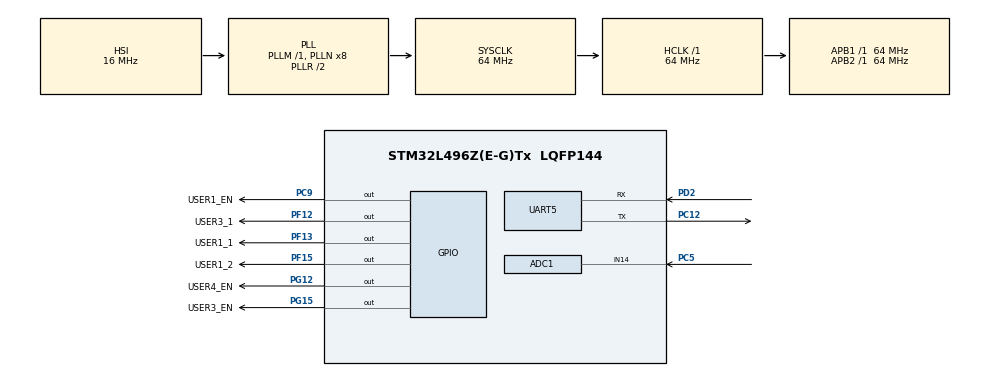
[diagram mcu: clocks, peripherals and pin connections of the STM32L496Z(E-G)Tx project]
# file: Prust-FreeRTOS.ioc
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Mcu.Family=STM32L4
RCC.CortexFreq_Value=64000000
PC12.Signal=UART5_TX
PG15.Signal=GPIO_Output
RCC.SYSCLKSource=RCC_SYSCLKSOURCE_PLLCLK
ProjectManager.StackSize=0x400
VP_FREERTOS_VS_CMSIS_V2.Mode=CMSIS_V2
PG15.GPIO_Label=USER3_EN
RCC.ADCCLockSelection=RCC_ADCCLKSOURCE_SYSCLK
RCC.HCLKFreq_Value=64000000
RCC.APB2TimFreq_Value=64000000
Dma.ADC1.0.Direction=DMA_PERIPH_TO_MEMORY
PF12.Signal=GPIO_Output
FREERTOS.configUSE_MALLOC_FAILED_HOOK=1
Dma.ADC1.0.MemDataAlignment=DMA_MDATAALIGN_HALFWORD
RCC.AHBFreq_Value=64000000
RCC.HSE_VALUE=8000000
PF12.GPIO_Label=USER3_1
VP_SYS_VS_tim1.Mode=TIM1
FREERTOS.HEAP_NUMBER=4
Dma.ADC1.0.PeriphInc=DMA_PINC_DISABLE
FREERTOS.configTIMER_TASK_PRIORITY=45
FREERTOS.configTOTAL_HEAP_SIZE=30000
Mcu.Package=LQFP144
FREERTOS.configUSE_NEWLIB_REENTRANT=1
NVIC.TimeBase=TIM1_UP_TIM16_IRQn
SH.ADCx_IN14.0=ADC1_IN14,IN14-Single-Ended
NVIC.TimeBaseIP=TIM1
ADC1.OffsetNumber-1\#ChannelRegularConversion=ADC_OFFSET_NONE
RCC.UART5CLockSelection=RCC_UART5CLKSOURCE_SYSCLK
RCC.APB1TimFreq_Value=64000000
PC5.Signal=ADCx_IN14
Dma.Request0=ADC1
RCC.MSIClockRange=RCC_MSIRANGE_11
RCC.PLLSAI1R=RCC_PLLR_DIV4
RCC.HSI48_VALUE=48000000
RCC.PLLSAI1N=16
PG12.Signal=GPIO_Output
RCC.MSI_VALUE=48000000
RCC.PLLSourceVirtual=RCC_PLLSOURCE_HSI
Dma.ADC1.0.Instance=DMA1_Channel1
FREERTOS.Tasks01=defaultTask,24,256,StartDefaultTask,Default,NULL,Dynamic,NULL,NULL;prustApp,24,2048,prust_task,Default,NULL,Dynamic,NULL,NULL
PC9.GPIO_Label=USER1_EN
FREERTOS.configCHECK_FOR_STACK_OVERFLOW=1
PF13.GPIO_Label=USER1_1
Dma.ADC1.0.PeriphDataAlignment=DMA_PDATAALIGN_HALFWORD
ProjectManager.TargetToolchain=STM32CubeIDE
FREERTOS.configTIMER_TASK_STACK_DEPTH=512
Dma.ADC1.0.Mode=DMA_CIRCULAR
Dma.ADC1.0.Priority=DMA_PRIORITY_VERY_HIGH
ADC1.Channel-1\#ChannelRegularConversion=ADC_CHANNEL_14
RCC.USBFreq_Value=128000000
RCC.LSE_VALUE=32768
PD2.Mode=Asynchronous
FREERTOS.configUSE_POSIX_ERRNO=1
PC12.Mode=Asynchronous
board=custom
RCC.VCOOutputFreq_Value=128000000
RCC.APB2Freq_Value=64000000
RCC.ADCFreq_Value=64000000
PF15.GPIO_Label=USER1_2
PF15.Signal=GPIO_Output
PF13.Signal=GPIO_Output
Mcu.Name=STM32L496Z(E-G)Tx
ADC1.SamplingTime-1\#ChannelRegularConversion=ADC_SAMPLETIME_2CYCLES_5
RCC.SYSCLKFreq_VALUE=64000000
ADC1.master=1
ADC1.Rank-1\#ChannelRegularConversion=1
Dma.ADC1.0.MemInc=DMA_MINC_ENABLE
ProjectManager.HeapSize=0x200
PG12.GPIO_Label=USER4_EN
RCC.HSI_VALUE=16000000
NVIC.TIM1_UP_TIM16_IRQn=true\:0\:0\:false\:false\:true\:false\:false\:true
NVIC.PriorityGroup=NVIC_PRIORITYGROUP_4
ADC1.NbrOfConversionFlag=1
PC9.Signal=GPIO_Output
NVIC.DMA1_Channel1_IRQn=true\:5\:0\:false\:false\:true\:true\:false\:true
PD2.Signal=UART5_RX
RCC.APB1Freq_Value=64000000

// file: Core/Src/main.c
/* USER CODE BEGIN Header */
/**
  ******************************************************************************
  * @file           : main.c
  * @brief          : Main program body
  ******************************************************************************
  * @attention
  *
  * <h2><center>&copy; Copyright (c) 2021 STMicroelectronics.
  * All rights reserved.</center></h2>
  *
  * This software component is licensed by ST under BSD 3-Clause license,
  * the "License"; You may not use this file except in compliance with the
  * License. You may obtain a copy of the License at:
  *                        opensource.org/licenses/BSD-3-Clause
  *
  ******************************************************************************
  */
/* USER CODE END Header */
#include "main.h"
#include "cmsis_os.h"

ADC_HandleTypeDef hadc1;
DMA_HandleTypeDef hdma_adc1;

UART_HandleTypeDef huart5;

/* Definitions for defaultTask */
osThreadId_t defaultTaskHandle;
const osThreadAttr_t defaultTask_attributes = {
  .name = "defaultTask",
  .stack_size = 256 * 4,
  .priority = (osPriority_t) osPriorityNormal,
};
/* Definitions for prustApp */
osThreadId_t prustAppHandle;
const osThreadAttr_t prustApp_attributes = {
  .name = "prustApp",
  .stack_size = 2048 * 4,
  .priority = (osPriority_t) osPriorityNormal,
};

void SystemClock_Config(void);
static void MX_GPIO_Init(void);
static void MX_DMA_Init(void);
static void MX_ADC1_Init(void);
static void MX_UART5_Init(void);
void StartDefaultTask(void *argument);
void prust_task(void *argument);

/* USER CODE BEGIN PFP */
extern void prust_main();
extern void prust_timer_callback();
extern void prust_uart5_idle_callback();
extern void prust_uart5_recv_cplt_callback();

int prust_recv_packet(uint8_t * dest, size_t dest_cap, uint32_t timeout);
int prust_send_packet(uint8_t * src, size_t src_len, uint32_t timeout);
void prust_write_byte_uart5(uint8_t pData);
// TODO extern const pin values
// TODO must really change this function.
void prust_set_pins(size_t idx, uint8_t set);
// TODO error propagation
uint16_t prust_read_adc();
void prust_enable_timer();
void prust_disable_timer();
/* USER CODE END PFP */

int main(void)
{

  /* MCU Configuration--------------------------------------------------------*/

  /* Reset of all peripherals, Initializes the Flash interface and the Systick. */
  HAL_Init();

  /* Configure the system clock */
  SystemClock_Config();

  /* Initialize all configured peripherals */
  MX_GPIO_Init();
  MX_DMA_Init();
  MX_ADC1_Init();
  MX_UART5_Init();

  /* Init scheduler */
  osKernelInitialize();

  /* Create the thread(s) */
  /* creation of defaultTask */
  defaultTaskHandle = osThreadNew(StartDefaultTask, NULL, &defaultTask_attributes);

  /* creation of prustApp */
  prustAppHandle = osThreadNew(prust_task, NULL, &prustApp_attributes);

  /* Start scheduler */
  osKernelStart();

  /* We should never get here as control is now taken by the scheduler */
  /* Infinite loop */
  while (1)
  {

  }
}

void SystemClock_Config(void)
{
  RCC_OscInitTypeDef RCC_OscInitStruct = {0};
  RCC_ClkInitTypeDef RCC_ClkInitStruct = {0};
  RCC_PeriphCLKInitTypeDef PeriphClkInit = {0};

  /** Initializes the RCC Oscillators according to the specified parameters
  * in the RCC_OscInitTypeDef structure.
  */
  RCC_OscInitStruct.OscillatorType = RCC_OSCILLATORTYPE_HSI;
  RCC_OscInitStruct.HSIState = RCC_HSI_ON;
  RCC_OscInitStruct.HSICalibrationValue = RCC_HSICALIBRATION_DEFAULT;
  RCC_OscInitStruct.PLL.PLLState = RCC_PLL_ON;
  RCC_OscInitStruct.PLL.PLLSource = RCC_PLLSOURCE_HSI;
  RCC_OscInitStruct.PLL.PLLM = 1;
  RCC_OscInitStruct.PLL.PLLN = 8;
  RCC_OscInitStruct.PLL.PLLP = RCC_PLLP_DIV2;
  RCC_OscInitStruct.PLL.PLLQ = RCC_PLLQ_DIV2;
  RCC_OscInitStruct.PLL.PLLR = RCC_PLLR_DIV2;
  if (HAL_RCC_OscConfig(&RCC_OscInitStruct) != HAL_OK)
  {
    Error_Handler();
  }
  /** Initializes the CPU, AHB and APB buses clocks
  */
  RCC_ClkInitStruct.ClockType = RCC_CLOCKTYPE_HCLK|RCC_CLOCKTYPE_SYSCLK
                              |RCC_CLOCKTYPE_PCLK1|RCC_CLOCKTYPE_PCLK2;
  RCC_ClkInitStruct.SYSCLKSource = RCC_SYSCLKSOURCE_PLLCLK;
  RCC_ClkInitStruct.AHBCLKDivider = RCC_SYSCLK_DIV1;
  RCC_ClkInitStruct.APB1CLKDivider = RCC_HCLK_DIV1;
  RCC_ClkInitStruct.APB2CLKDivider = RCC_HCLK_DIV1;

  if (HAL_RCC_ClockConfig(&RCC_ClkInitStruct, FLASH_LATENCY_3) != HAL_OK)
  {
    Error_Handler();
  }
  PeriphClkInit.PeriphClockSelection = RCC_PERIPHCLK_UART5|RCC_PERIPHCLK_ADC;
  PeriphClkInit.Uart5ClockSelection = RCC_UART5CLKSOURCE_SYSCLK;
  PeriphClkInit.AdcClockSelection = RCC_ADCCLKSOURCE_SYSCLK;
  if (HAL_RCCEx_PeriphCLKConfig(&PeriphClkInit) != HAL_OK)
  {
    Error_Handler();
  }
  /** Configure the main internal regulator output voltage
  */
  if (HAL_PWREx_ControlVoltageScaling(PWR_REGULATOR_VOLTAGE_SCALE1) != HAL_OK)
  {
    Error_Handler();
  }
}

static void MX_ADC1_Init(void)
{

  ADC_MultiModeTypeDef multimode = {0};
  ADC_ChannelConfTypeDef sConfig = {0};

  /** Common config
  */
  hadc1.Instance = ADC1;
  hadc1.Init.ClockPrescaler = ADC_CLOCK_ASYNC_DIV1;
  hadc1.Init.Resolution = ADC_RESOLUTION_12B;
  hadc1.Init.DataAlign = ADC_DATAALIGN_RIGHT;
  hadc1.Init.ScanConvMode = ADC_SCAN_DISABLE;
  hadc1.Init.EOCSelection = ADC_EOC_SINGLE_CONV;
  hadc1.Init.LowPowerAutoWait = DISABLE;
  hadc1.Init.ContinuousConvMode = DISABLE;
  hadc1.Init.NbrOfConversion = 1;
  hadc1.Init.DiscontinuousConvMode = DISABLE;
  hadc1.Init.ExternalTrigConv = ADC_SOFTWARE_START;
  hadc1.Init.ExternalTrigConvEdge = ADC_EXTERNALTRIGCONVEDGE_NONE;
  hadc1.Init.DMAContinuousRequests = DISABLE;
  hadc1.Init.Overrun = ADC_OVR_DATA_PRESERVED;
  hadc1.Init.OversamplingMode = DISABLE;
  if (HAL_ADC_Init(&hadc1) != HAL_OK)
  {
    Error_Handler();
  }
  /** Configure the ADC multi-mode
  */
  multimode.Mode = ADC_MODE_INDEPENDENT;
  if (HAL_ADCEx_MultiModeConfigChannel(&hadc1, &multimode) != HAL_OK)
  {
    Error_Handler();
  }
  /** Configure Regular Channel
  */
  sConfig.Channel = ADC_CHANNEL_14;
  sConfig.Rank = ADC_REGULAR_RANK_1;
  sConfig.SamplingTime = ADC_SAMPLETIME_2CYCLES_5;
  sConfig.SingleDiff = ADC_SINGLE_ENDED;
  sConfig.OffsetNumber = ADC_OFFSET_NONE;
  sConfig.Offset = 0;
  if (HAL_ADC_ConfigChannel(&hadc1, &sConfig) != HAL_OK)
  {
    Error_Handler();
  }

}

static void MX_UART5_Init(void)
{

  huart5.Instance = UART5;
  huart5.Init.BaudRate = 115200;
  huart5.Init.WordLength = UART_WORDLENGTH_8B;
  huart5.Init.StopBits = UART_STOPBITS_1;
  huart5.Init.Parity = UART_PARITY_NONE;
  huart5.Init.Mode = UART_MODE_TX_RX;
  huart5.Init.HwFlowCtl = UART_HWCONTROL_NONE;
  huart5.Init.OverSampling = UART_OVERSAMPLING_16;
  huart5.Init.OneBitSampling = UART_ONE_BIT_SAMPLE_DISABLE;
  huart5.AdvancedInit.AdvFeatureInit = UART_ADVFEATURE_NO_INIT;
  if (HAL_UART_Init(&huart5) != HAL_OK)
  {
    Error_Handler();
  }

}

static void MX_DMA_Init(void)
{

  /* DMA controller clock enable */
  __HAL_RCC_DMA1_CLK_ENABLE();

  /* DMA interrupt init */
  /* DMA1_Channel1_IRQn interrupt configuration */
  HAL_NVIC_SetPriority(DMA1_Channel1_IRQn, 5, 0);
  HAL_NVIC_EnableIRQ(DMA1_Channel1_IRQn);

}

static void MX_GPIO_Init(void)
{
  GPIO_InitTypeDef GPIO_InitStruct = {0};

  /* GPIO Ports Clock Enable */
  __HAL_RCC_GPIOC_CLK_ENABLE();
  __HAL_RCC_GPIOF_CLK_ENABLE();
  __HAL_RCC_GPIOD_CLK_ENABLE();
  __HAL_RCC_GPIOG_CLK_ENABLE();
  HAL_PWREx_EnableVddIO2();

  /*Configure GPIO pin Output Level */
  HAL_GPIO_WritePin(GPIOF, USER3_1_Pin|USER1_1_Pin|USER1_2_Pin, GPIO_PIN_RESET);

  /*Configure GPIO pin Output Level */
  HAL_GPIO_WritePin(USER1_EN_GPIO_Port, USER1_EN_Pin, GPIO_PIN_RESET);

  /*Configure GPIO pin Output Level */
  HAL_GPIO_WritePin(GPIOG, USER4_EN_Pin|USER3_EN_Pin, GPIO_PIN_RESET);

  /*Configure GPIO pins : USER3_1_Pin USER1_1_Pin USER1_2_Pin */
  GPIO_InitStruct.Pin = USER3_1_Pin|USER1_1_Pin|USER1_2_Pin;
  GPIO_InitStruct.Mode = GPIO_MODE_OUTPUT_PP;
  GPIO_InitStruct.Pull = GPIO_NOPULL;
  GPIO_InitStruct.Speed = GPIO_SPEED_FREQ_LOW;
  HAL_GPIO_Init(GPIOF, &GPIO_InitStruct);

  /*Configure GPIO pin : USER1_EN_Pin */
  GPIO_InitStruct.Pin = USER1_EN_Pin;
  GPIO_InitStruct.Mode = GPIO_MODE_OUTPUT_PP;
  GPIO_InitStruct.Pull = GPIO_NOPULL;
  GPIO_InitStruct.Speed = GPIO_SPEED_FREQ_LOW;
  HAL_GPIO_Init(USER1_EN_GPIO_Port, &GPIO_InitStruct);

  /*Configure GPIO pins : USER4_EN_Pin USER3_EN_Pin */
  GPIO_InitStruct.Pin = USER4_EN_Pin|USER3_EN_Pin;
  GPIO_InitStruct.Mode = GPIO_MODE_OUTPUT_PP;
  GPIO_InitStruct.Pull = GPIO_NOPULL;
  GPIO_InitStruct.Speed = GPIO_SPEED_FREQ_LOW;
  HAL_GPIO_Init(GPIOG, &GPIO_InitStruct);

}

/* USER CODE BEGIN 4 */

// TODO extern const pin values
// TODO must really change this function.
void prust_set_pins(size_t idx, uint8_t set){
	if (idx == 0){
		HAL_GPIO_WritePin(USER1_1_GPIO_Port, USER1_1_Pin, set);
	}else if (idx == 1){
		HAL_GPIO_WritePin(USER1_2_GPIO_Port, USER1_2_Pin, set);
	}else if (idx == 2){
		HAL_GPIO_WritePin(USER3_1_GPIO_Port, USER3_1_Pin, set);
	}else if (idx == 3){
		HAL_GPIO_WritePin(USER1_EN_GPIO_Port, USER1_EN_Pin, set);
	}else if (idx == 4){
		HAL_GPIO_WritePin(USER3_EN_GPIO_Port, USER3_EN_Pin, set);
	}else if (idx == 5){
		HAL_GPIO_WritePin(USER4_EN_GPIO_Port, USER4_EN_Pin, set);
	}
}

// TODO error propagation
uint16_t prust_read_adc(){
	uint16_t res = 0;
	HAL_ADCEx_Calibration_Start(&hadc1, 14);
	HAL_ADC_Start(&hadc1);
	if (HAL_OK == HAL_ADC_PollForConversion(&hadc1, 1000)){
		res = HAL_ADC_GetValue(&hadc1);
	}
	HAL_ADC_Stop(&hadc1);
	HAL_Delay(100);
	return res;
}

/*int prust_recv_packet(uint8_t * dest, size_t dest_cap, uint32_t timeout){
	static const uint8_t header_len = 6;
	size_t data_len;
	int res = 0;
	//vTaskSuspendAll();
	{
		if (HAL_OK != HAL_UART_Receive(&huart5, dest, header_len, timeout)){
			res = -1;
			//osThreadYield();
		} else{
			data_len = ((dest[4])<<8) + dest[5] + 1;
			if (dest_cap > (data_len + header_len) &&
					HAL_OK != HAL_UART_Receive(&huart5, dest+header_len, data_len, timeout)){
				res = -1;
			}else{
				res = 0;
			}
		}
	}
	//xTaskResumeAll();

	return res;
}*/

int prust_recv_packet(uint8_t * dest, size_t dest_cap, uint32_t timeout){
	static const uint8_t header_len = 6;

	size_t data_len;
	int res = 0;
	{
		if (HAL_OK != HAL_UART_Receive(&huart5, dest, header_len, timeout)){
			res = -1;
		} else{
			data_len = ((dest[4])<<8) + dest[5] + 1;
			if (dest_cap > (data_len + header_len) &&
					HAL_OK != HAL_UART_Receive(&huart5, dest+header_len, data_len, timeout)){
				res = -1;
			}else{
				res = 0;
			}
		}
	}
	osThreadYield();
	return res;
}

int prust_send_packet(uint8_t * src, size_t src_len, uint32_t timeout){
	int res = 0;
	vPortEnterCritical();
	vTaskSuspendAll();
	{
		if (HAL_OK != HAL_UART_Transmit(&huart5, src, src_len, timeout)){
			res = -1;
		} else{
			res = 0;
		}
	}
	xTaskResumeAll();
	vPortExitCritical();
	return res;
}
/* USER CODE END 4 */

void StartDefaultTask(void *argument)
{
  for(;;)
  {
    osDelay(1);
  }
}

void prust_task(void *argument)
{
  /* USER CODE BEGIN prust_task */
  prust_main(); // easier for debugging.
  /* Infinite loop */
  for(;;)
  {
    osDelay(1);
  }
  /* USER CODE END prust_task */
}

 /**
  * @brief  Period elapsed callback in non blocking mode
  * @note   This function is called  when TIM1 interrupt took place, inside
  * HAL_TIM_IRQHandler(). It makes a direct call to HAL_IncTick() to increment
  * a global variable "uwTick" used as application time base.
  * @param  htim : TIM handle
  * @retval None
  */
void HAL_TIM_PeriodElapsedCallback(TIM_HandleTypeDef *htim)
{
  if (htim->Instance == TIM1) {
    HAL_IncTick();
  }
}

void Error_Handler(void)
{
  __disable_irq();
  while (1)
  {
  }
}

/************************ (C) COPYRIGHT STMicroelectronics *****END OF FILE****/

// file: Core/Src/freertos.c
/* USER CODE BEGIN Header */
/**
  ******************************************************************************
  * File Name          : freertos.c
  * Description        : Code for freertos applications
  ******************************************************************************
  * @attention
  *
  * <h2><center>&copy; Copyright (c) 2021 STMicroelectronics.
  * All rights reserved.</center></h2>
  *
  * This software component is licensed by ST under Ultimate Liberty license
  * SLA0044, the "License"; You may not use this file except in compliance with
  * the License. You may obtain a copy of the License at:
  *                             www.st.com/SLA0044
  *
  ******************************************************************************
  */
/* USER CODE END Header */

#include "FreeRTOS.h"
#include "task.h"
#include "main.h"

/* Hook prototypes */
void vApplicationStackOverflowHook(xTaskHandle xTask, signed char *pcTaskName);
void vApplicationMallocFailedHook(void);

/* USER CODE BEGIN 4 */
void vApplicationStackOverflowHook(xTaskHandle xTask, signed char *pcTaskName)
{
	while(1){};
   /* Run time stack overflow checking is performed if
   configCHECK_FOR_STACK_OVERFLOW is defined to 1 or 2. This hook function is
   called if a stack overflow is detected. */
}
/* USER CODE END 4 */

/* USER CODE BEGIN 5 */
void vApplicationMallocFailedHook(void)
{
	while(1){};
   /* vApplicationMallocFailedHook() will only be called if
   configUSE_MALLOC_FAILED_HOOK is set to 1 in FreeRTOSConfig.h. It is a hook
   function that will get called if a call to pvPortMalloc() fails.
   pvPortMalloc() is called internally by the kernel whenever a task, queue,
   timer or semaphore is created. It is also called by various parts of the
   demo application. If heap_1.c or heap_2.c are used, then the size of the
   heap available to pvPortMalloc() is defined by configTOTAL_HEAP_SIZE in
   FreeRTOSConfig.h, and the xPortGetFreeHeapSize() API function can be used
   to query the size of free heap space that remains (although it does not
   provide information on how the remaining heap might be fragmented). */
}
/* USER CODE END 5 */

/************************ (C) COPYRIGHT STMicroelectronics *****END OF FILE****/
